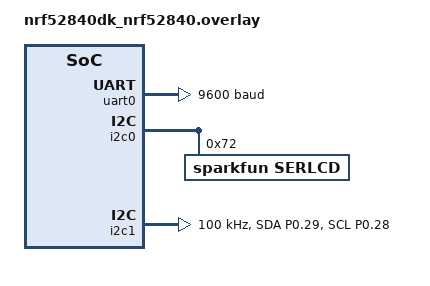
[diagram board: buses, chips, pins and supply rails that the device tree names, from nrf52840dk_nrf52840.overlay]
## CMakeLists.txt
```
cmake_minimum_required(VERSION 3.20.0)
find_package(Zephyr REQUIRED HINTS $ENV{ZEPHYR_BASE})

project(geiger)

target_sources(app PRIVATE 
    src/main.c
    #src/uartRx.h
    #src/uartRx.c
    src/fram.h
    src/fram.c
)
```

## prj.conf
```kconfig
CONFIG_SERIAL=y
CONFIG_UART_ASYNC_API=y
CONFIG_I2C=y
CONFIG_AUXDISPLAY=y
CONFIG_AUXDISPLAY_SERLCD=y
```

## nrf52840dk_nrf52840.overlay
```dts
&uart0 {
	compatible = "nordic,nrf-uarte";
	status = "okay";
	current-speed = <9600>;
	pinctrl-0 = <&uart0_default>;
	pinctrl-1 = <&uart0_sleep>;
	pinctrl-names = "default", "sleep";
};

&i2c0 {
    serlcd@72 {
		status = "okay";
		compatible = "sparkfun,serlcd";
		reg = <0x72>;
		columns = <16>;
		rows = <2>;
		command-delay-ms = <10>;
		special-command-delay-ms = <50>;
	  };
  };

&i2c1 {
	status = "okay";
	compatible = "nordic,nrf-twim";
	pinctrl-0 = <&i2c1_default>;
	pinctrl-1 = <&i2c1_sleep>;
	pinctrl-names = "default", "sleep";
	clock-frequency = <100000>; 
};

&pinctrl {
	i2c1_default: i2c1_default{
		group1 {
			psels = <NRF_PSEL(TWIM_SDA, 0, 29)>,
			<NRF_PSEL(TWIM_SCL, 0, 28)>;
			bias-pull-up;
		};
	};
	i2c1_sleep: i2c1_sleep{
		group1 {
			psels = <NRF_PSEL(TWIM_SDA, 0, 29)>,
				<NRF_PSEL(TWIM_SCL, 0, 28)>;
			low-power-enable;
		};
	};
};
```

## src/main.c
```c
#include <zephyr/kernel.h>

#include <zephyr/sys/printk.h>
#include <zephyr/drivers/auxdisplay.h>
#include <string.h>
#include <zephyr/drivers/uart.h>

//#include "uartRx.h"
#include "fram.h"


// not enough functions to justify a whole file for this peripheral - yet!
const struct device *const serLcd_dev = DEVICE_DT_GET(DT_CHILD(DT_NODELABEL(i2c0), serlcd_72));
uint8_t empty[] = {0x20,0x20,0x20,0x20,0x20,0x20,0x20,0x20,0x20,0x20,0x20,0x20,0x20,0x20,0x20,0x20,
        0x20,0x20,0x20,0x20,0x20,0x20,0x20,0x20,0x20,0x20,0x20,0x20,0x20,0x20,0x20,0x20};
uint8_t welcome[] = {0x50,0x6F,0x77,0x65,0x72,0x69,0x6E,0x67,0x20,0x6F,0x6E,0x2E,0x2E,0x2E};
char status[14];


///////////////////////////////////////////////////////////////////////////////////////////////////////////// uart0 device, pins p0.05-8 by default on nRF52840
static const struct device *uart0_dev = DEVICE_DT_GET(DT_NODELABEL(uart0));
static const struct uart_config uart0_cfg = {
        .baudrate = 9600,
        .parity = UART_CFG_PARITY_NONE,
        .stop_bits = UART_CFG_STOP_BITS_1,
        .data_bits = UART_CFG_DATA_BITS_8,
        .flow_ctrl = UART_CFG_FLOW_CTRL_NONE
};

// buffer for storing received uart data
static uint8_t uart0_rxBuf[48];

// buffer for use of data by anything other than the callback function
volatile static char uart0_buf[48];
// callback (ISR) for uart0
void uart0_cb(const struct device *dev, struct uart_event *event, void *data) {

        switch (event->type) {
                // UART_RX_RDY --> data was received and...
                //      receive timeout occured or
                //      buffer is full
                case UART_RX_RDY:
                        //printk("RXed data\n");
                        //printk("isrrx[%s]\n",uart0_rxBuf);
                        // clear main loop buffer
                        memset(uart0_buf, 0, 48*sizeof(char));
                        //printk("isrbb[%s]\n",uart0_buf);
                        // copy received data from rx buffer to main loop buffer
                        strncpy(uart0_buf, uart0_rxBuf, 48*sizeof(uint8_t));
                        printk("isr2bb[%s]\n",uart0_buf);
                        // clear rx buffer
                        memset(uart0_rxBuf, 0, 48*sizeof(uint8_t));
                        //printk("isrrx2[%s]\n",uart0_rxBuf);
                        
                        break;
    
                case UART_RX_DISABLED:
                        printk("Reenabling...\n");
                        int err = uart_rx_enable(uart0_dev, uart0_rxBuf, sizeof(uart0_rxBuf), SYS_FOREVER_MS);
                        if (err == -ENOSYS) {
                                printk(" UART RX NOT ENABLED - ENOSYS \n");
                                // flash led labeled LED2 and LED3 on board endlessly if error
                                //errorLed(4);
                        } else if (err == -ENOTSUP) {
                                printk(" UART RX NOT ENABLED - ENOTSUP \n");
                                // flash led labeled LED3 and LED4 on board endlessly if error
                                //errorLed(5);
                        }
    
                        break;
                default:
                        break;
                
                
        }
    }
    
    // init function for uart, returns non zero on error
    int uart0_init() {
    
        if (!device_is_ready(uart0_dev)) {
            printk("UART0 DEVICE NOT READY\n");
            return 1;
        }
    
        // setup uart
        // uart0_dev is the uart device pointer
        // &uart0_cfg is the configuration struct to apply to the uart0_dev device
        if (uart_configure(uart0_dev, &uart0_cfg) == -ENOSYS) {
            printk(" UART NOT CONFIGURED PROPERLY \n");
            return 1;
        }
    
        // setup uart callback
        // uart0_dev is the uart device pointer
        // uart0_cb is the callback function
        // NULL is where you could put a void pointer to "user data" that can be
        // passed to the callback function
        int err = uart_callback_set(uart0_dev, uart0_cb, NULL);
        if (err == -ENOSYS) {
                printk(" UART CALLBACK NOT SET - ENOSYS \n");
                return 1;
        } else if (err == -ENOTSUP) {
                printk(" UART CALLBACK NOT SET - ENOTSUP \n");
                return 1;
        }
    
        // enable the callback by passing it the rx buffer defined near the top
        // uart0_dev is the uart device pointer
        // uart0_rxBuf is the buffer for receiving data
        // third arg is the size of the buffer
        // fourth arg is the timeout, microseconds delay after receiving one byte of data
        // in the buffer before triggering the UART_RX_RDY event
        err = uart_rx_enable(uart0_dev, uart0_rxBuf, sizeof(uart0_rxBuf), SYS_FOREVER_MS);
        if (err == -ENOSYS) {
                printk(" UART RX NOT ENABLED - ENOSYS \n");
                return 1;
        } else if (err == -ENOTSUP) {
                printk(" UART RX NOT ENABLED - ENOTSUP \n");
                return 1;
        }
    
        return 0;
    }
///////////////////////////////////////////////////////////////////////////////////////////////////////////

void readToSerial() {}




int main(void)
{

        int uartErr = uart0_init();
        if (uartErr) {
                printk("Error initializing UART\n");
                return 0;
        }

        int framErr = fram_init();
        if (framErr) {
                printk("Error initializing FRAM\n");
                return 0;
        }

        if ((!device_is_ready(serLcd_dev)) || auxdisplay_cursor_set_enabled(serLcd_dev, true)) {
                printk("Error initializing display\n");
		return 0;
	}


        // clear display
        auxdisplay_write(
                serLcd_dev,
                empty,
                sizeof(empty)
        );

        // on message
        auxdisplay_write(
                serLcd_dev,
                welcome,
                sizeof(welcome)
        );

        k_msleep(2222);

        //auxdisplay_clear(serLcd_dev);

        printk("hi\n");

        volatile struct uartData rx;
        rx.cps = 0;
        rx.cpm = 0;
        rx.usph = 0;
        rx.speed = 0;
        volatile uint8_t auxBuf[48];
        uint8_t decimal;

        while (1) {
                //printk("hi\n");


                memset(auxBuf, 0, sizeof(auxBuf));
                printk("ONE -- Auxbuf is '%s'\n", auxBuf);
                printk("ONE -- uarbuf is '%s'\n", uart0_buf);
                k_msleep(30);


                sscanf(
                        uart0_buf,
                        "CPS, %d, CPM, %d, uSv/hr, %d.%d, %c",
                        &rx.cps,
                        &rx.cpm,
                        &rx.usph,
                        &decimal,
                        &rx.speed
                );

                printk("TWO -- Auxbuf is '%s'\n", auxBuf);
                printk("TWO -- uarbuf is '%s'\n", uart0_buf);
                k_msleep(30);


                snprintf(
                        auxBuf,
                        sizeof(auxBuf),
                        "CPS:%02d CPM:%04d uSv/hr: %02d.%02d    ",
                        rx.cps,
                        rx.cpm,
                        rx.usph,
                        decimal
                );

                printk("THR -- Auxbuf is '%s'\n", auxBuf);
                printk("THR -- uarbuf is '%s'\n", uart0_buf);
                k_msleep(30);


                // display msg
                printk("Attempting write of '%s'\n", auxBuf);
                auxdisplay_clear(serLcd_dev);
                auxdisplay_write(
                        serLcd_dev,
                        auxBuf,
                        32
                );

                printk("FOU -- Auxbuf is '%s'\n", auxBuf);
                printk("FOU -- uarbuf is '%s'\n", uart0_buf);


                k_msleep(30);



        }




        return 0;
}
```

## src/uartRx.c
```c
#include "uartRx.h"

// callback (ISR) for uart0
void uart0_cb(const struct device *dev, struct uart_event *event, void *data) {

    switch (event->type) {
            // UART_RX_RDY --> data was received and...
            //      receive timeout occured or
            //      buffer is full
            case UART_RX_RDY:
                    printk("RXed data\n");
                    printk("isrrx[%s]\n",uart0_rxBuf);
                    // clear main loop buffer
                    memset(uart0_buf, 0, 48*sizeof(char));
                    printk("isrbb[%s]\n",uart0_buf);
                    // copy received data from rx buffer to main loop buffer
                    strncpy(uart0_buf, uart0_rxBuf, 48*sizeof(uint8_t));
                    printk("isr2bb[%s]\n",uart0_buf);
                    // clear rx buffer
                    memset(uart0_rxBuf, 0, 48*sizeof(uint8_t));
                    printk("isrrx2[%s]\n",uart0_rxBuf);

                    uartNewMsg = UART_UPDATE;
                    
                    break;

            case UART_RX_DISABLED:
                    printk("Reenabling...\n");
                    int err = uart_rx_enable(uart0_dev, uart0_rxBuf, sizeof(uart0_rxBuf), SYS_FOREVER_MS);
                    if (err == -ENOSYS) {
                            printk(" UART RX NOT ENABLED - ENOSYS \n");
                            // flash led labeled LED2 and LED3 on board endlessly if error
                            //errorLed(4);
                    } else if (err == -ENOTSUP) {
                            printk(" UART RX NOT ENABLED - ENOTSUP \n");
                            // flash led labeled LED3 and LED4 on board endlessly if error
                            //errorLed(5);
                    }

                    break;
            default:
                    break;
            
            
    }
}

// init function for uart, returns non zero on error
int uart0_init() {

    if (!device_is_ready(uart0_dev)) {
        printk("UART0 DEVICE NOT READY\n");
        return 1;
    }

    // setup uart
    // uart0_dev is the uart device pointer
    // &uart0_cfg is the configuration struct to apply to the uart0_dev device
    if (uart_configure(uart0_dev, &uart0_cfg) == -ENOSYS) {
        printk(" UART NOT CONFIGURED PROPERLY \n");
        return 1;
    }

    // setup uart callback
    // uart0_dev is the uart device pointer
    // uart0_cb is the callback function
    // NULL is where you could put a void pointer to "user data" that can be
    // passed to the callback function
    int err = uart_callback_set(uart0_dev, uart0_cb, NULL);
    if (err == -ENOSYS) {
            printk(" UART CALLBACK NOT SET - ENOSYS \n");
            return 1;
    } else if (err == -ENOTSUP) {
            printk(" UART CALLBACK NOT SET - ENOTSUP \n");
            return 1;
    }

    // enable the callback by passing it the rx buffer defined near the top
    // uart0_dev is the uart device pointer
    // uart0_rxBuf is the buffer for receiving data
    // third arg is the size of the buffer
    // fourth arg is the timeout, microseconds delay after receiving one byte of data
    // in the buffer before triggering the UART_RX_RDY event
    err = uart_rx_enable(uart0_dev, uart0_rxBuf, sizeof(uart0_rxBuf), SYS_FOREVER_MS);
    if (err == -ENOSYS) {
            printk(" UART RX NOT ENABLED - ENOSYS \n");
            return 1;
    } else if (err == -ENOTSUP) {
            printk(" UART RX NOT ENABLED - ENOTSUP \n");
            return 1;
    }

    return 0;
}
```
